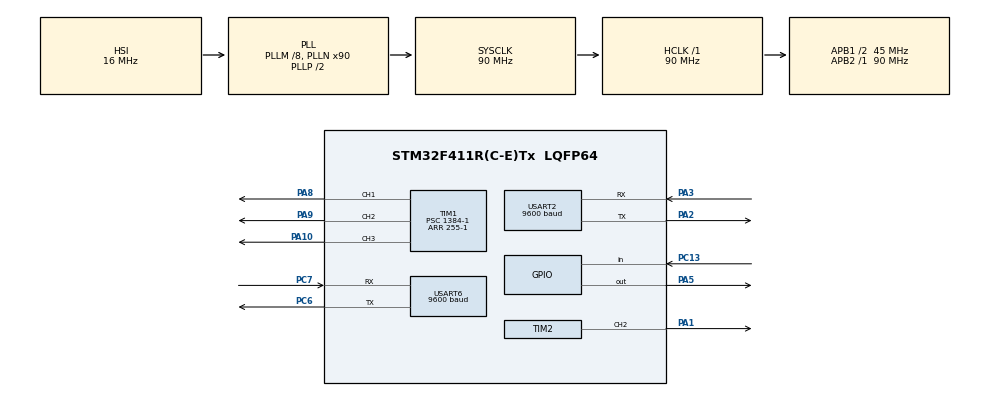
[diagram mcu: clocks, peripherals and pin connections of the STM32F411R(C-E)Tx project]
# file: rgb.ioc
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Mcu.Family=STM32F4
Mcu.Name=STM32F411R(C-E)Tx
Mcu.Package=LQFP64
NVIC.PriorityGroup=NVIC_PRIORITYGROUP_4
NVIC.TIM3_IRQn=true\:0\:0\:false\:false\:true\:true\:true
NVIC.USART2_IRQn=true\:0\:0\:false\:false\:true\:true\:true
NVIC.USART6_IRQn=true\:0\:0\:false\:false\:true\:true\:true
PA1.Signal=S_TIM2_CH2
PA10.Signal=S_TIM1_CH3
PA2.Mode=Asynchronous
PA2.Signal=USART2_TX
PA3.Mode=Asynchronous
PA3.Signal=USART2_RX
PA5.Signal=GPIO_Output
PA8.Signal=S_TIM1_CH1
PA9.Signal=S_TIM1_CH2
PC13-ANTI_TAMP.Signal=GPIO_Input
PC6.Mode=Asynchronous
PC6.Signal=USART6_TX
PC7.Mode=Asynchronous
PC7.Signal=USART6_RX
ProjectManager.HeapSize=0x200
ProjectManager.StackSize=0x400
ProjectManager.TargetToolchain=STM32CubeIDE
RCC.48MHZClocksFreq_Value=45000000
RCC.AHBFreq_Value=90000000
RCC.APB1CLKDivider=RCC_HCLK_DIV2
RCC.APB1Freq_Value=45000000
RCC.APB1TimFreq_Value=90000000
RCC.APB2Freq_Value=90000000
RCC.APB2TimFreq_Value=90000000
RCC.CortexFreq_Value=90000000
RCC.HCLKFreq_Value=90000000
RCC.HSE_VALUE=25000000
RCC.HSI_VALUE=16000000
RCC.LSE_VALUE=32768
RCC.PLLM=8
RCC.PLLN=90
RCC.SYSCLKFreq_VALUE=90000000
RCC.SYSCLKSource=RCC_SYSCLKSOURCE_PLLCLK
RCC.VCOOutputFreq_Value=180000000
SH.S_TIM1_CH1.0=TIM1_CH1,PWM Generation1 CH1
SH.S_TIM1_CH2.0=TIM1_CH2,PWM Generation2 CH2
SH.S_TIM1_CH3.0=TIM1_CH3,PWM Generation3 CH3
SH.S_TIM2_CH2.0=TIM2_CH2,PWM Generation2 CH2
TIM1.Channel-PWM\ Generation1\ CH1=TIM_CHANNEL_1
TIM1.Channel-PWM\ Generation2\ CH2=TIM_CHANNEL_2
TIM1.Channel-PWM\ Generation3\ CH3=TIM_CHANNEL_3
TIM1.Period=255-1
TIM1.Prescaler=1384-1
TIM2.Channel-PWM\ Generation2\ CH2=TIM_CHANNEL_2
TIM2.OCMode_PWM-PWM\ Generation2\ CH2=TIM_OCMODE_PWM1
TIM2.Period=1000-1
TIM2.Prescaler=1500-1
TIM3.Period=9000
TIM3.Prescaler=10000
USART2.BaudRate=9600
USART2.VirtualMode=VM_ASYNC
USART6.BaudRate=9600
USART6.VirtualMode=VM_ASYNC
VP_TIM2_VS_ClockSourceINT.Mode=Internal
VP_TIM3_VS_ClockSourceINT.Mode=Internal
board=custom

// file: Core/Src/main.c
/* USER CODE BEGIN Header */
/**
  ******************************************************************************
  * @file           : main.c
  * @brief          : Main program body
  ******************************************************************************
  * @attention
  *
  * <h2><center>&copy; Copyright (c) 2020 STMicroelectronics.
  * All rights reserved.</center></h2>
  *
  * This software component is licensed by ST under BSD 3-Clause license,
  * the "License"; You may not use this file except in compliance with the
  * License. You may obtain a copy of the License at:
  *                        opensource.org/licenses/BSD-3-Clause
  *
  ******************************************************************************
  */
/* USER CODE END Header */

#include "main.h"

/* USER CODE BEGIN Includes */

#define NOTE_C4  262   //Defining note frequency
#define NOTE_D4  294
#define NOTE_E4  330
#define NOTE_F4  349
#define NOTE_G4  392
#define NOTE_A4  440
#define NOTE_B4  494
#define NOTE_C5  523
#define NOTE_D5  587
#define NOTE_E5  659
#define NOTE_F5  698
#define NOTE_G5  784
#define NOTE_A5  880
#define NOTE_B5  988
/* USER CODE END Includes */

TIM_HandleTypeDef htim1;
TIM_HandleTypeDef htim2;
TIM_HandleTypeDef htim3;

UART_HandleTypeDef huart2;
UART_HandleTypeDef huart6;

/* USER CODE BEGIN PV */

int tim_it=0;
int nota_stack[10];
int last_index = 0;

int record_list[200];
int record_duraction[200];
int record_length = 0;
int r_start = 0;
int r_d = 0;
int previous = 0;

char rec[6];
int rxcmp = 0;
int i;

int bt = 0;
int stop = 0;

int songs[4] = {0,0,0,0};

/* USER CODE END PV */

void SystemClock_Config(void);
static void MX_GPIO_Init(void);
static void MX_TIM1_Init(void);
static void MX_TIM2_Init(void);
static void MX_TIM3_Init(void);
static void MX_USART2_UART_Init(void);
static void MX_USART6_UART_Init(void);

/* USER CODE BEGIN 0 */
void set_rgb (uint8_t red, uint8_t green, uint8_t blue)
{
	htim1.Instance->CCR1 = red;
	htim1.Instance->CCR2 = green;
	htim1.Instance->CCR3 = blue;
}

int setfreq(int freq) // 1 to 3000 Hz
{
int period = 60000 / freq; // compute period as function of 60KHz ticks
TIM2->ARR = period - 1;
TIM2->CCR2 = period / 2; // Channel 2 50/50
TIM2->CNT = 0;
return 0;
}

int get_index(int i){

	for(int j=0;10>j;j++){
		if(i == nota_stack[j] )
			return j;
	}
	return 0;
}

void delay(int num){

	num = num * 9000;

	for(int i=0;num>i;i++){

	}
}

void play_rgb_notes(int note){
		switch(note){
		case 262:
			set_rgb(72,61,139);
			break;
		case  NOTE_D4:
			set_rgb(39,64,139);
			break;
		case  NOTE_E4:
			set_rgb(0,191,255);
			break;
		case  NOTE_F4:
			set_rgb(0,245,255);
			break;
		case  NOTE_G4:
			set_rgb(0,255,127);
			break;
		case  NOTE_A4:
			set_rgb(173,255,47);
			break;
		case  NOTE_B4:
			set_rgb(205,190,112);
			break;
		case  NOTE_C5:
			set_rgb(255,106,106);
			break;
		case  NOTE_D5:
			set_rgb(238,64,0);
			break;
		case  NOTE_E5:
			set_rgb(255,20,147);
			break;
		case  NOTE_F5:
			set_rgb(52,152,219);
			break;
		case  NOTE_G5:
			set_rgb(26,188,156);
			break;
		case  NOTE_A5:
			set_rgb(241,196,15);
			break;
		case  NOTE_B5:
			set_rgb(186,74,0);
			break;

		}
}

void play_pirates(){
	 float notes[] = {
	    NOTE_E4, NOTE_G4, NOTE_A4, NOTE_A4, 0,
	    NOTE_A4, NOTE_B4, NOTE_C5, NOTE_C5, 0,
	    NOTE_C5, NOTE_D5, NOTE_B4, NOTE_B4, 0,
	    NOTE_A4, NOTE_G4, NOTE_A4, 0,

	    NOTE_E4, NOTE_G4, NOTE_A4, NOTE_A4, 0,
	    NOTE_A4, NOTE_B4, NOTE_C5, NOTE_C5, 0,
	    NOTE_C5, NOTE_D5, NOTE_B4, NOTE_B4, 0,
	    NOTE_A4, NOTE_G4, NOTE_A4, 0,

	    NOTE_E4, NOTE_G4, NOTE_A4, NOTE_A4, 0,
	    NOTE_A4, NOTE_C5, NOTE_D5, NOTE_D5, 0,
	    NOTE_D5, NOTE_E5, NOTE_F5, NOTE_F5, 0,
	    NOTE_E5, NOTE_D5, NOTE_E5, NOTE_A4, 0,

	    NOTE_A4, NOTE_B4, NOTE_C5, NOTE_C5, 0,
	    NOTE_D5, NOTE_E5, NOTE_A4, 0,
	    NOTE_A4, NOTE_C5, NOTE_B4, NOTE_B4, 0,
	    NOTE_C5, NOTE_A4, NOTE_B4, 0,

	    NOTE_A4, NOTE_A4,
	    //Repeat of first part
	    NOTE_A4, NOTE_B4, NOTE_C5, NOTE_C5, 0,
	    NOTE_C5, NOTE_D5, NOTE_B4, NOTE_B4, 0,
	    NOTE_A4, NOTE_G4, NOTE_A4, 0,

	    NOTE_E4, NOTE_G4, NOTE_A4, NOTE_A4, 0,
	    NOTE_A4, NOTE_B4, NOTE_C5, NOTE_C5, 0,
	    NOTE_C5, NOTE_D5, NOTE_B4, NOTE_B4, 0,
	    NOTE_A4, NOTE_G4, NOTE_A4, 0,

	    NOTE_E4, NOTE_G4, NOTE_A4, NOTE_A4, 0,
	    NOTE_A4, NOTE_C5, NOTE_D5, NOTE_D5, 0,
	    NOTE_D5, NOTE_E5, NOTE_F5, NOTE_F5, 0,
	    NOTE_E5, NOTE_D5, NOTE_E5, NOTE_A4, 0,

	    NOTE_A4, NOTE_B4, NOTE_C5, NOTE_C5, 0,
	    NOTE_D5, NOTE_E5, NOTE_A4, 0,
	    NOTE_A4, NOTE_C5, NOTE_B4, NOTE_B4, 0,
	    NOTE_C5, NOTE_A4, NOTE_B4, 0,
	    //End of Repeat

	    NOTE_E5, 0, 0, NOTE_F5, 0, 0,
	    NOTE_E5, NOTE_E5, 0, NOTE_G5, 0, NOTE_E5, NOTE_D5, 0, 0,
	    NOTE_D5, 0, 0, NOTE_C5, 0, 0,
	    NOTE_B4, NOTE_C5, 0, NOTE_B4, 0, NOTE_A4,

	    NOTE_E5, 0, 0, NOTE_F5, 0, 0,
	    NOTE_E5, NOTE_E5, 0, NOTE_G5, 0, NOTE_E5, NOTE_D5, 0, 0,
	    NOTE_D5, 0, 0, NOTE_C5, 0, 0,
	    NOTE_B4, NOTE_C5, 0, NOTE_B4, 0, NOTE_A4
	 };
	 int duration[] = {         //duration of each note (in ms) Quarter Note is set to 250 ms
	   125, 125, 250, 125, 125,
	   125, 125, 250, 125, 125,
	   125, 125, 250, 125, 125,
	   125, 125, 375, 125,

	   125, 125, 250, 125, 125,
	   125, 125, 250, 125, 125,
	   125, 125, 250, 125, 125,
	   125, 125, 375, 125,

	   125, 125, 250, 125, 125,
	   125, 125, 250, 125, 125,
	   125, 125, 250, 125, 125,
	   125, 125, 125, 250, 125,

	   125, 125, 250, 125, 125,
	   250, 125, 250, 125,
	   125, 125, 250, 125, 125,
	   125, 125, 375, 375,

	   250, 125,
	   //Rpeat of First Part
	   125, 125, 250, 125, 125,
	   125, 125, 250, 125, 125,
	   125, 125, 375, 125,

	   125, 125, 250, 125, 125,
	   125, 125, 250, 125, 125,
	   125, 125, 250, 125, 125,
	   125, 125, 375, 125,

	   125, 125, 250, 125, 125,
	   125, 125, 250, 125, 125,
	   125, 125, 250, 125, 125,
	   125, 125, 125, 250, 125,

	   125, 125, 250, 125, 125,
	   250, 125, 250, 125,
	   125, 125, 250, 125, 125,
	   125, 125, 375, 375,
	   //End of Repeat

	   250, 125, 375, 250, 125, 375,
	   125, 125, 125, 125, 125, 125, 125, 125, 375,
	   250, 125, 375, 250, 125, 375,
	   125, 125, 125, 125, 125, 500,

	   250, 125, 375, 250, 125, 375,
	   125, 125, 125, 125, 125, 125, 125, 125, 375,
	   250, 125, 375, 250, 125, 375,
	   125, 125, 125, 125, 125, 500
	 };

	 float result;
	 	  for(int i=0;i<203;i++){
	 		  if(stop == 1){
	 			  stop = 0;
	 			  break;
	 		  }
	           int w = duration[i];

	           if(notes[i] == 0){
	               result = 0;

	               }
	           else {
	               result = notes[i];

	               }

	           play_rgb_notes(notes[i]);

	           setfreq(result);

	           delay(w);

	           set_rgb(0, 0, 0);

	 	  }
	 	  TIM2->CCR2 = 0;

}

void play_coffin(){
	 float coffin[] = {

			  NOTE_A4, NOTE_A4, NOTE_A4, NOTE_A4,
			  NOTE_A4, NOTE_A4, NOTE_A4, NOTE_A4,
			  NOTE_A4, NOTE_A4, NOTE_A4, NOTE_A4,
			  NOTE_A4, NOTE_A4, NOTE_A4, NOTE_A4,
			  NOTE_A4, NOTE_A4, NOTE_A4, NOTE_A4,
			  NOTE_D5, NOTE_D5, NOTE_D5, NOTE_D5,
			  NOTE_C5, NOTE_C5, NOTE_C5, NOTE_C5,
			  NOTE_F5, NOTE_F5, NOTE_F5, NOTE_F5,
			  NOTE_G5, NOTE_G5, NOTE_G5, NOTE_G5,
			  NOTE_G5, NOTE_G5, NOTE_G5, NOTE_G5,
			  NOTE_G5, NOTE_G5, NOTE_G5, NOTE_G5,
			  NOTE_C5, NOTE_B4, NOTE_A4, NOTE_F4,
			  NOTE_G4, 0, NOTE_G4, NOTE_D5,
			  NOTE_C5, 0, NOTE_B4, 0,
			  NOTE_A4, 0, NOTE_A4, NOTE_A4,
			  NOTE_C5, 0, NOTE_B4, NOTE_A4,
			  NOTE_G4,0, NOTE_G4, NOTE_A5,
			  NOTE_G5, NOTE_A5, NOTE_G5, NOTE_A5,
			  NOTE_G4,0, NOTE_G4, NOTE_A5,
			  NOTE_G5, NOTE_A5, NOTE_G5, NOTE_A5,
			  NOTE_G4, 0, NOTE_G4, NOTE_D5,
			  NOTE_C5, 0, NOTE_B4, 0,
			  NOTE_A4, 0, NOTE_A4, NOTE_A4,
			  NOTE_C5, 0, NOTE_B4, NOTE_A4,
			  NOTE_G4,0, NOTE_G4, NOTE_A5,
			  NOTE_G5, NOTE_A5, NOTE_G5, NOTE_A5,
			  NOTE_G4,0, NOTE_G4, NOTE_A5,
			  NOTE_G5, NOTE_A5, NOTE_G5, NOTE_A5

	 };

	 int coffinDurations[] = {
	   200,200,200,200,
	   200,200,200,200,
	   200,200,200,200,
	   200,200,200,200,
	   200,200,200,200,
	   200,200,200,200,
	   200,200,200,200,
	   200,200,200,200,
	   200,200,200,200,
	   200,200,200,200,
	   200,200,200,200,
	   200,200,200,200,
	   200,200,200,200,
	   200,200,200,200,
	   200,200,200,200,
	   200,200,200,200,
	   200,200,200,200,
	   200,200,200,200,
	   200,200,200,200,
	   200,200,200,200,
	   200,200,200,200,
	   200,200,200,200,
	   200,200,200,200,
	   200,200,200,200,
	   200,200,200,200,
	   200,200,200,200,
	   200,200,200,200,
	   200,200,200,200
	   };

	 float result;
	 	  for(int i=0;i< (sizeof(coffinDurations) / sizeof(coffinDurations[0]))  ;i++){
	 		  if(stop == 1){
	 			  stop = 0;
	 			  break;
	 		  }
	           int w = coffinDurations[i];

	           if(coffin[i] == 0){
	               result = 0;

	               }
	           else {
	               result = coffin[i];

	               }

	           play_rgb_notes(coffin[i]);

	           setfreq(result);

	           delay(w);

	           set_rgb(0, 0, 0);

	 	  }
	 	  TIM2->CCR2 = 0;

}

/* USER CODE END 0 */

int main(void)
{

  /* MCU Configuration--------------------------------------------------------*/

  /* Reset of all peripherals, Initializes the Flash interface and the Systick. */
  HAL_Init();

  /* Configure the system clock */
  SystemClock_Config();

  /* Initialize all configured peripherals */
  MX_GPIO_Init();
  MX_TIM1_Init();
  MX_TIM2_Init();
  MX_TIM3_Init();
  MX_USART2_UART_Init();
  MX_USART6_UART_Init();
  /* USER CODE BEGIN 2 */
  HAL_TIM_Base_Start(&htim1);
  HAL_TIM_Base_Start(&htim2);
  HAL_TIM_Base_Start(&htim3);
  HAL_TIM_Base_Start_IT(&htim3);

  HAL_TIM_PWM_Start(&htim1, TIM_CHANNEL_1);
  HAL_TIM_PWM_Start(&htim1, TIM_CHANNEL_2);
  HAL_TIM_PWM_Start(&htim1, TIM_CHANNEL_3);

  HAL_TIM_PWM_Start(&htim2, TIM_CHANNEL_2);

  HAL_UART_Receive_IT(&huart2, rec, 6);
  HAL_UART_Receive_IT(&huart6, rec, 6);

	  float result;

  /* USER CODE END 2 */

  /* Infinite loop */
  while (1)
  {

    /* USER CODE BEGIN 3 */
	  if(!HAL_GPIO_ReadPin(GPIOC,GPIO_PIN_13)){

		  if(bt == 0)
		  {
			  bt = 1;

			  memcpy(rec,0,6);
			  HAL_UART_Receive_IT(&huart6, rec, 6);

			  setfreq(600);
			  set_rgb(0, 255, 0);
			  delay(200);
			  setfreq(800);
			  set_rgb(0, 0,255);
			  delay(200);
			  set_rgb(0, 0, 0);
			  TIM2->CCR2 = 0;

		  }
		  else{
			  bt = 0;
			  memcpy(rec,0,6);
			  HAL_UART_Receive_IT(&huart2, rec, 6);
			  setfreq(800);
			  set_rgb(0, 0, 255);
			  delay(200);
			  setfreq(600);
			  set_rgb(0, 255 , 0);
			  delay(200);
			  set_rgb(0, 0, 0);
			  TIM2->CCR2 = 0;

		  }

	  }

	  if(songs[0] == 1){
		  songs[0] = 0;
		  play_pirates();
	  }
	  else if(songs[3] == 1){
		  songs[3] = 0;
		  play_coffin();
	  }

  }

  /* USER CODE END 3 */
}

void SystemClock_Config(void)
{
  RCC_OscInitTypeDef RCC_OscInitStruct = {0};
  RCC_ClkInitTypeDef RCC_ClkInitStruct = {0};

  /** Configure the main internal regulator output voltage
  */
  __HAL_RCC_PWR_CLK_ENABLE();
  __HAL_PWR_VOLTAGESCALING_CONFIG(PWR_REGULATOR_VOLTAGE_SCALE1);
  /** Initializes the CPU, AHB and APB busses clocks
  */
  RCC_OscInitStruct.OscillatorType = RCC_OSCILLATORTYPE_HSI;
  RCC_OscInitStruct.HSIState = RCC_HSI_ON;
  RCC_OscInitStruct.HSICalibrationValue = RCC_HSICALIBRATION_DEFAULT;
  RCC_OscInitStruct.PLL.PLLState = RCC_PLL_ON;
  RCC_OscInitStruct.PLL.PLLSource = RCC_PLLSOURCE_HSI;
  RCC_OscInitStruct.PLL.PLLM = 8;
  RCC_OscInitStruct.PLL.PLLN = 90;
  RCC_OscInitStruct.PLL.PLLP = RCC_PLLP_DIV2;
  RCC_OscInitStruct.PLL.PLLQ = 4;
  if (HAL_RCC_OscConfig(&RCC_OscInitStruct) != HAL_OK)
  {
    Error_Handler();
  }
  /** Initializes the CPU, AHB and APB busses clocks
  */
  RCC_ClkInitStruct.ClockType = RCC_CLOCKTYPE_HCLK|RCC_CLOCKTYPE_SYSCLK
                              |RCC_CLOCKTYPE_PCLK1|RCC_CLOCKTYPE_PCLK2;
  RCC_ClkInitStruct.SYSCLKSource = RCC_SYSCLKSOURCE_PLLCLK;
  RCC_ClkInitStruct.AHBCLKDivider = RCC_SYSCLK_DIV1;
  RCC_ClkInitStruct.APB1CLKDivider = RCC_HCLK_DIV2;
  RCC_ClkInitStruct.APB2CLKDivider = RCC_HCLK_DIV1;

  if (HAL_RCC_ClockConfig(&RCC_ClkInitStruct, FLASH_LATENCY_2) != HAL_OK)
  {
    Error_Handler();
  }
}

static void MX_TIM1_Init(void)
{

  TIM_MasterConfigTypeDef sMasterConfig = {0};
  TIM_OC_InitTypeDef sConfigOC = {0};
  TIM_BreakDeadTimeConfigTypeDef sBreakDeadTimeConfig = {0};

  htim1.Instance = TIM1;
  htim1.Init.Prescaler = 1384-1;
  htim1.Init.CounterMode = TIM_COUNTERMODE_UP;
  htim1.Init.Period = 255-1;
  htim1.Init.ClockDivision = TIM_CLOCKDIVISION_DIV1;
  htim1.Init.RepetitionCounter = 0;
  htim1.Init.AutoReloadPreload = TIM_AUTORELOAD_PRELOAD_DISABLE;
  if (HAL_TIM_PWM_Init(&htim1) != HAL_OK)
  {
    Error_Handler();
  }
  sMasterConfig.MasterOutputTrigger = TIM_TRGO_RESET;
  sMasterConfig.MasterSlaveMode = TIM_MASTERSLAVEMODE_DISABLE;
  if (HAL_TIMEx_MasterConfigSynchronization(&htim1, &sMasterConfig) != HAL_OK)
  {
    Error_Handler();
  }
  sConfigOC.OCMode = TIM_OCMODE_PWM1;
  sConfigOC.Pulse = 0;
  sConfigOC.OCPolarity = TIM_OCPOLARITY_HIGH;
  sConfigOC.OCNPolarity = TIM_OCNPOLARITY_HIGH;
  sConfigOC.OCFastMode = TIM_OCFAST_DISABLE;
  sConfigOC.OCIdleState = TIM_OCIDLESTATE_RESET;
  sConfigOC.OCNIdleState = TIM_OCNIDLESTATE_RESET;
  if (HAL_TIM_PWM_ConfigChannel(&htim1, &sConfigOC, TIM_CHANNEL_1) != HAL_OK)
  {
    Error_Handler();
  }
  if (HAL_TIM_PWM_ConfigChannel(&htim1, &sConfigOC, TIM_CHANNEL_2) != HAL_OK)
  {
    Error_Handler();
  }
  if (HAL_TIM_PWM_ConfigChannel(&htim1, &sConfigOC, TIM_CHANNEL_3) != HAL_OK)
  {
    Error_Handler();
  }
  sBreakDeadTimeConfig.OffStateRunMode = TIM_OSSR_DISABLE;
  sBreakDeadTimeConfig.OffStateIDLEMode = TIM_OSSI_DISABLE;
  sBreakDeadTimeConfig.LockLevel = TIM_LOCKLEVEL_OFF;
  sBreakDeadTimeConfig.DeadTime = 0;
  sBreakDeadTimeConfig.BreakState = TIM_BREAK_DISABLE;
  sBreakDeadTimeConfig.BreakPolarity = TIM_BREAKPOLARITY_HIGH;
  sBreakDeadTimeConfig.AutomaticOutput = TIM_AUTOMATICOUTPUT_DISABLE;
  if (HAL_TIMEx_ConfigBreakDeadTime(&htim1, &sBreakDeadTimeConfig) != HAL_OK)
  {
    Error_Handler();
  }
  HAL_TIM_MspPostInit(&htim1);

}

static void MX_TIM2_Init(void)
{

  TIM_ClockConfigTypeDef sClockSourceConfig = {0};
  TIM_MasterConfigTypeDef sMasterConfig = {0};
  TIM_OC_InitTypeDef sConfigOC = {0};

  /* USER CODE BEGIN TIM2_Init 1 */
  htim2.Instance = TIM2;
  htim2.Init.Prescaler = 1500-1;
  /* USER CODE END TIM2_Init 1 */
  htim2.Instance = TIM2;
  htim2.Init.Prescaler = 1500-1;
  htim2.Init.CounterMode = TIM_COUNTERMODE_UP;
  htim2.Init.Period = 1000-1;
  htim2.Init.ClockDivision = TIM_CLOCKDIVISION_DIV1;
  htim2.Init.AutoReloadPreload = TIM_AUTORELOAD_PRELOAD_DISABLE;
  if (HAL_TIM_Base_Init(&htim2) != HAL_OK)
  {
    Error_Handler();
  }
  sClockSourceConfig.ClockSource = TIM_CLOCKSOURCE_INTERNAL;
  if (HAL_TIM_ConfigClockSource(&htim2, &sClockSourceConfig) != HAL_OK)
  {
    Error_Handler();
  }
  if (HAL_TIM_PWM_Init(&htim2) != HAL_OK)
  {
    Error_Handler();
  }
  sMasterConfig.MasterOutputTrigger = TIM_TRGO_RESET;
  sMasterConfig.MasterSlaveMode = TIM_MASTERSLAVEMODE_DISABLE;
  if (HAL_TIMEx_MasterConfigSynchronization(&htim2, &sMasterConfig) != HAL_OK)
  {
    Error_Handler();
  }
  sConfigOC.OCMode = TIM_OCMODE_PWM1;
  sConfigOC.Pulse = 0;
  sConfigOC.OCPolarity = TIM_OCPOLARITY_HIGH;
  sConfigOC.OCFastMode = TIM_OCFAST_DISABLE;
  if (HAL_TIM_PWM_ConfigChannel(&htim2, &sConfigOC, TIM_CHANNEL_2) != HAL_OK)
  {
    Error_Handler();
  }
  /* USER CODE BEGIN TIM2_Init 2 */
  sConfigOC.Pulse = (htim2.Init.Period + 1)/2;
  /* USER CODE END TIM2_Init 2 */
  HAL_TIM_MspPostInit(&htim2);

}

static void MX_TIM3_Init(void)
{

  TIM_ClockConfigTypeDef sClockSourceConfig = {0};
  TIM_MasterConfigTypeDef sMasterConfig = {0};

  htim3.Instance = TIM3;
  htim3.Init.Prescaler = 10000;
  htim3.Init.CounterMode = TIM_COUNTERMODE_UP;
  htim3.Init.Period = 9000;
  htim3.Init.ClockDivision = TIM_CLOCKDIVISION_DIV1;
  htim3.Init.AutoReloadPreload = TIM_AUTORELOAD_PRELOAD_DISABLE;
  if (HAL_TIM_Base_Init(&htim3) != HAL_OK)
  {
    Error_Handler();
  }
  sClockSourceConfig.ClockSource = TIM_CLOCKSOURCE_INTERNAL;
  if (HAL_TIM_ConfigClockSource(&htim3, &sClockSourceConfig) != HAL_OK)
  {
    Error_Handler();
  }
  sMasterConfig.MasterOutputTrigger = TIM_TRGO_RESET;
  sMasterConfig.MasterSlaveMode = TIM_MASTERSLAVEMODE_DISABLE;
  if (HAL_TIMEx_MasterConfigSynchronization(&htim3, &sMasterConfig) != HAL_OK)
  {
    Error_Handler();
  }

}

static void MX_USART2_UART_Init(void)
{

  huart2.Instance = USART2;
  huart2.Init.BaudRate = 9600;
  huart2.Init.WordLength = UART_WORDLENGTH_8B;
  huart2.Init.StopBits = UART_STOPBITS_1;
  huart2.Init.Parity = UART_PARITY_NONE;
  huart2.Init.Mode = UART_MODE_TX_RX;
  huart2.Init.HwFlowCtl = UART_HWCONTROL_NONE;
  huart2.Init.OverSampling = UART_OVERSAMPLING_16;
  if (HAL_UART_Init(&huart2) != HAL_OK)
  {
    Error_Handler();
  }

}

static void MX_USART6_UART_Init(void)
{

  huart6.Instance = USART6;
  huart6.Init.BaudRate = 9600;
  huart6.Init.WordLength = UART_WORDLENGTH_8B;
  huart6.Init.StopBits = UART_STOPBITS_1;
  huart6.Init.Parity = UART_PARITY_NONE;
  huart6.Init.Mode = UART_MODE_TX_RX;
  huart6.Init.HwFlowCtl = UART_HWCONTROL_NONE;
  huart6.Init.OverSampling = UART_OVERSAMPLING_16;
  if (HAL_UART_Init(&huart6) != HAL_OK)
  {
    Error_Handler();
  }

}

static void MX_GPIO_Init(void)
{
  GPIO_InitTypeDef GPIO_InitStruct = {0};

  /* GPIO Ports Clock Enable */
  __HAL_RCC_GPIOC_CLK_ENABLE();
  __HAL_RCC_GPIOA_CLK_ENABLE();

  /*Configure GPIO pin Output Level */
  HAL_GPIO_WritePin(GPIOA, GPIO_PIN_5, GPIO_PIN_RESET);

  /*Configure GPIO pin : PC13 */
  GPIO_InitStruct.Pin = GPIO_PIN_13;
  GPIO_InitStruct.Mode = GPIO_MODE_INPUT;
  GPIO_InitStruct.Pull = GPIO_NOPULL;
  HAL_GPIO_Init(GPIOC, &GPIO_InitStruct);

  /*Configure GPIO pin : PA5 */
  GPIO_InitStruct.Pin = GPIO_PIN_5;
  GPIO_InitStruct.Mode = GPIO_MODE_OUTPUT_PP;
  GPIO_InitStruct.Pull = GPIO_NOPULL;
  GPIO_InitStruct.Speed = GPIO_SPEED_FREQ_LOW;
  HAL_GPIO_Init(GPIOA, &GPIO_InitStruct);

}

/* USER CODE BEGIN 4 */

void HAL_TIM_PeriodElapsedCallback( TIM_HandleTypeDef *htim ){

	r_d ++;

}

void HAL_UART_RxCpltCallback(UART_HandleTypeDef *huart)
{

		if(bt == 1)
			HAL_UART_Transmit(&huart6, rec, 6, 20);
		else
			HAL_UART_Transmit(&huart2, rec, 6, 20);

	stop = 1;
	if(( (huart == &huart2) && (bt == 0) ) || ((huart == &huart6) && (bt == 1))  ){
	sscanf(rec, "%d", &i);

	rxcmp = 1;
	memcpy(rec,0,6);

	  if( (i == NOTE_C4) || (i == NOTE_D4) || (i == NOTE_E4) || (i == NOTE_F4) || (i == NOTE_G4) || (i == NOTE_A4) || (i == NOTE_B4) || (i == NOTE_C5) || (i == NOTE_D5) || (i == NOTE_E5) || (i == NOTE_F5) || (i == NOTE_G5) || (i == NOTE_A5) || (i == NOTE_B5) ){

		setfreq(i);

		if(r_start){
			if((previous != 0) && last_index == 0 ){
				record_list[record_length] = 0;
				record_length ++;
				int drc = (r_d * 9000) + TIM3->CNT;
				record_duraction[record_length - 1] = drc;
			}

			if(last_index > 0){
				int drc = (r_d * 9000) + TIM3->CNT;
			    record_duraction[record_length - 1] = drc;
			}

			TIM3->CNT = 0;
			r_d = 0;
			record_list[record_length] = i;
			record_length ++;
			previous = i;

		}

		if(last_index <= 9){
			nota_stack[last_index] = i;
			last_index++;
		}else{
			last_index = 0;
			nota_stack[last_index] = i;
			last_index++;
		}

		play_rgb_notes(i);
		i=0;

	  }
	else if ( (abs(i) == NOTE_C4) || (abs(i) == NOTE_D4) || (abs(i) == NOTE_E4) || (abs(i) == NOTE_F4) || (abs(i) == NOTE_G4) || (abs(i) == NOTE_A4) || (abs(i) == NOTE_B4) || (abs(i) == NOTE_C5) || (abs(i) == NOTE_D5) || (abs(i) == NOTE_E5) || (abs(i) == NOTE_F5) || (abs(i) == NOTE_G5) || (abs(i) == NOTE_A5) || (abs(i) == NOTE_B5)  ){

		  	   if ( (int) abs(i) == nota_stack[last_index-1] ){
		  		set_rgb(0, 0, 0);
		  		TIM2->CCR2 = 0;
		  		for(int k=0;k<10;k++)
		  			nota_stack[k] = 0;

		  		last_index = 0;

		  		if(r_start){
		  		int drc = (r_d * 9000) + TIM3->CNT;
		  		record_duraction[record_length - 1] = drc;
		  		TIM3->CNT = 0;

		  		}

		  	  }
		  	  else{

		  		  int n_i = get_index(abs(i));

		  		  for(int k = n_i ; 10>k;k++){
		  			  nota_stack[k] = nota_stack[k+1];
		  		  }
		  		  last_index --;

		  	  }

		  	  i = 0;

}
	else if((i == 271) || (i == -271) ){

	 			  if(i == 271){

	 				  for(int j = 0 ; 200 > j ; j++){
	 					  record_list[j] = 0;
	 					  record_duraction[j] = 0;
	 				  }
	 				  record_length = 0;
	 				  r_start = 1;

	 				 set_rgb(255, 0, 0);
	 				 setfreq(200);
	 				 	 delay(200);
	 				 set_rgb(0, 255, 0);
	 				 setfreq(400);
	 				 	 delay(200);
	 				 set_rgb(0, 0, 255);
	 				 setfreq(600);
	 				 	 delay(200);
	 				 set_rgb(0, 0, 0);
	 				 TIM2->CCR2 = 0;
	 				 previous = 0;
	 			  }
	 			  else{
	 				  	  r_start = 0;
	 					 set_rgb(0, 0, 255);
	 					 setfreq(600);
	 					 	 delay(200);
	 					 set_rgb(0, 255, 0);
	 					 setfreq(400);
	 					 	 delay(200);
	 					 set_rgb(255, 0, 0);
	 					 setfreq(200);
	 					 	 delay(200);
	 					 set_rgb(0, 0, 0);
	 					 TIM2->CCR2 = 0;

	 			  }

	 			  i = 0;
	 		  }
	 		  else if( (i == 272) || (i == 273) || (i == 274) || (i == 275)   ){
	 			  float song_speed = 0;
	 			  if(i == 272)
	 				  song_speed = 0.5;
	 			  else if (i == 273)
	 				  song_speed = 1;
	 			  else if (i == 274)
	 				  song_speed = 1.5;
	 			  else if (i == 275)
	 				  song_speed = 2;

	 			  int result;
	 			  for(int i=0;i<record_length;i++){
	 		          int w = record_duraction[i] / 10;

	 		          w = w / song_speed;

	 		          if(record_list[i] == 0){
	 		              result = 0;

	 		              }
	 		          else {
	 		              result = record_list[i];

	 		              }

	 					play_rgb_notes((int)record_list [i]);

	 		          setfreq(result);
	 		          delay(w);
	 		          set_rgb(0, 0, 0);

	 			  }
	 			  TIM2->CCR2 = 0;
	 			  i = 0;
	 		  }
	 		  else if(i >= 100 && i < 105){
	 			  stop = 0;
	 			  if(i == 100)
	 				  songs[0] = 1;
	 			  else if(i == 104)
	 				  songs[3] = 1;

	 		  }

	}
	  if(bt == 0)
		  HAL_UART_Receive_IT(&huart2, rec, 6);
	  else
		  HAL_UART_Receive_IT(&huart6, rec, 6);

}
/* USER CODE END 4 */

void Error_Handler(void)
{
}

/************************ (C) COPYRIGHT STMicroelectronics *****END OF FILE****/
